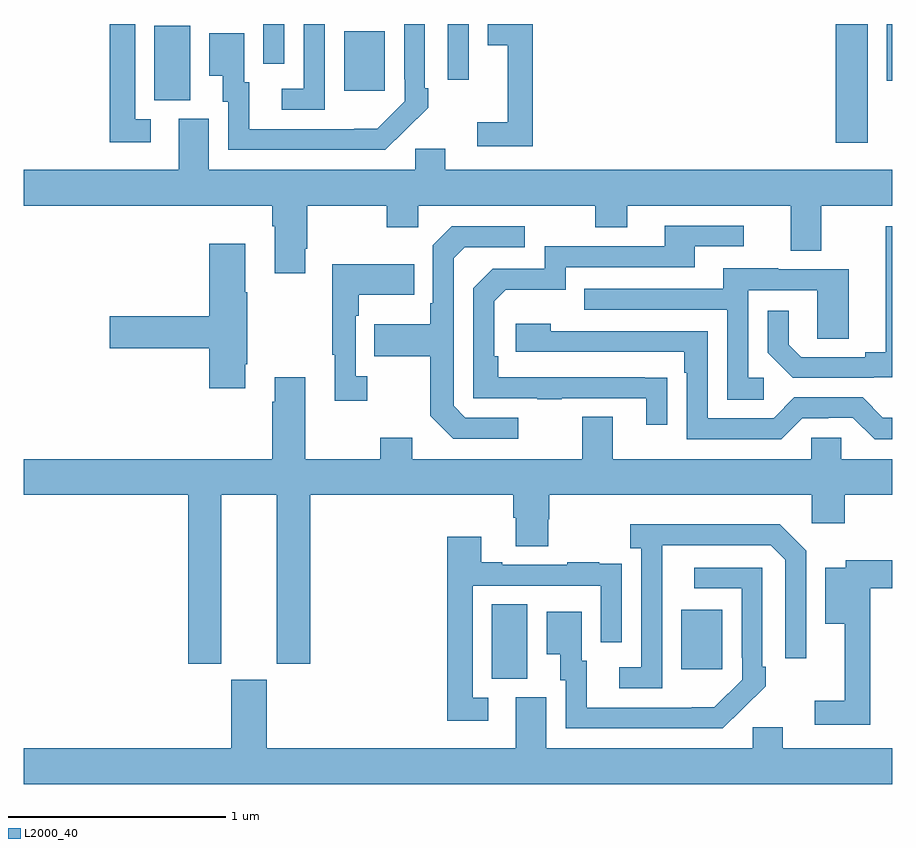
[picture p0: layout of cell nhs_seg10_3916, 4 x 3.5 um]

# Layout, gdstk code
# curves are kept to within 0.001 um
import gdstk
lib = gdstk.Library(unit=1e-6, precision=1e-09)
def R(c, l, rs):  # rectangles x0, y0, x1, y1
    for r in rs: c.add(gdstk.rectangle(r[:2], r[2:], *l))
def P(c, l, *ps):  # polygons
    for p in ps: c.add(gdstk.Polygon(p, *l))
L2000_40 = (2000, 40)

nhs_seg10_3916 = lib.new_cell('nhs_seg10_3916')
R(nhs_seg10_3916, L2000_40, [(329.156,1283.485,329.32,1283.828), (330.029,1283.529,330.217,1283.803), (330.74,1285.953,330.886,1286.5), (327.602,1286.149,327.766,1286.492), (328.475,1286.193,328.663,1286.467), (330.975,1286.238,331,1286.5), (328.953,1286.244,329.049,1286.5), (328.104,1286.316,328.2,1286.5)])
P(nhs_seg10_3916, L2000_40, [(328.757,1286.011),(328.758,1286.01),(328.863,1286.115),(328.863,1286.203),(328.848,1286.203),(328.848,1286.5),(328.752,1286.5),(328.752,1286.245),(328.755,1286.245),(328.755,1286.145),(328.627,1286.017),(328.039,1286.016),(328.039,1286.232),(328.015,1286.232),(328.015,1286.458),(327.854,1286.458),(327.854,1286.261),(327.917,1286.261),(327.917,1286.142),(327.942,1286.142),(327.942,1285.92),(328.666,1285.92)],
  [(328.386,1286.5),(328.29,1286.5),(328.29,1286.202),(328.188,1286.202),(328.188,1286.106),(328.386,1286.106)],
  [(329.345,1286.5),(329.138,1286.5),(329.138,1286.402),(329.228,1286.402),(329.228,1286.047),(329.088,1286.047),(329.088,1285.938),(329.345,1285.938)],
  [(327.586,1286.061),(327.513,1286.061),(327.513,1286.5),(327.397,1286.5),(327.397,1285.956),(327.586,1285.956)],
  [(328.297,1285.465),(328.305,1285.465),(328.305,1285.664),(328.672,1285.664),(328.672,1285.565),(328.818,1285.565),(328.818,1285.664),(329.632,1285.664),(329.632,1285.565),(329.779,1285.565),(329.779,1285.664),(330.533,1285.664),(330.533,1285.456),(330.673,1285.456),(330.673,1285.664),(331,1285.664),(331,1285.828),(328.942,1285.828),(328.942,1285.926),(328.803,1285.926),(328.803,1285.828),(327.853,1285.828),(327.853,1286.064),(327.713,1286.064),(327.713,1285.828),(327,1285.828),(327,1285.664),(328.145,1285.664),(328.145,1285.568),(328.157,1285.568),(328.157,1285.353),(328.297,1285.353)],
  [(329.963,1284.872),(329.186,1284.873),(329.186,1284.97),(329.166,1284.97),(329.166,1285.224),(329.219,1285.277),(329.496,1285.277),(329.496,1285.38),(330.091,1285.38),(330.091,1285.476),(330.316,1285.476),(330.316,1285.572),(329.951,1285.572),(329.951,1285.476),(329.4,1285.476),(329.4,1285.374),(329.16,1285.374),(329.07,1285.284),(329.07,1284.777),(329.365,1284.777),(329.365,1284.772),(329.477,1284.772),(329.477,1284.777),(329.867,1284.777),(329.867,1284.654),(329.963,1284.654)],
  [(329.278,1284.687),(329.034,1284.687),(328.98,1284.741),(328.98,1285.422),(329.031,1285.473),(329.308,1285.473),(329.308,1285.569),(328.971,1285.569),(328.884,1285.482),(328.884,1285.213),(328.872,1285.213),(328.872,1285.117),(328.615,1285.117),(328.615,1284.97),(328.872,1284.97),(328.872,1284.697),(328.977,1284.591),(329.278,1284.591)],
  [(330.914,1284.873),(331,1284.873),(331,1285.569),(330.971,1285.569),(330.971,1284.989),(330.875,1284.989),(330.875,1284.966),(330.58,1284.966),(330.523,1285.023),(330.523,1285.18),(330.426,1285.18),(330.426,1284.986),(330.542,1284.87),(330.914,1284.87)],
  [(328.021,1284.934),(328.029,1284.934),(328.029,1285.265),(328.021,1285.265),(328.021,1285.489),(327.854,1285.489),(327.854,1285.154),(327.396,1285.154),(327.396,1285.007),(327.854,1285.007),(327.854,1284.822),(328.021,1284.822)],
  [(328.582,1284.878),(328.53,1284.878),(328.53,1285.157),(328.543,1285.157),(328.543,1285.253),(328.799,1285.253),(328.799,1285.393),(328.422,1285.393),(328.422,1284.977),(328.433,1284.977),(328.433,1284.765),(328.582,1284.765)],
  [(330.409,1284.87),(330.336,1284.87),(330.336,1285.275),(330.654,1285.275),(330.654,1285.051),(330.799,1285.051),(330.799,1285.371),(330.475,1285.371),(330.475,1285.375),(330.221,1285.375),(330.221,1285.281),(329.581,1285.281),(329.581,1285.185),(330.24,1285.185),(330.24,1284.769),(330.409,1284.769)],
  [(331,1284.687),(330.957,1284.687),(330.864,1284.78),(330.549,1284.78),(330.453,1284.684),(330.15,1284.684),(330.15,1285.086),(329.426,1285.086),(329.426,1285.12),(329.265,1285.12),(329.265,1284.99),(330.041,1284.99),(330.041,1284.893),(330.054,1284.893),(330.054,1284.588),(330.489,1284.588),(330.585,1284.684),(330.704,1284.684),(330.704,1284.687),(330.819,1284.687),(330.919,1284.587),(331,1284.587)],
  [(327.91,1284.332),(328.166,1284.332),(328.166,1283.553),(328.319,1283.553),(328.319,1284.332),(329.255,1284.332),(329.255,1284.226),(329.267,1284.226),(329.267,1284.094),(329.415,1284.094),(329.415,1284.219),(329.42,1284.219),(329.42,1284.332),(330.63,1284.332),(330.63,1284.201),(330.782,1284.201),(330.782,1284.332),(331,1284.332),(331,1284.496),(330.765,1284.496),(330.765,1284.594),(330.627,1284.594),(330.627,1284.496),(329.713,1284.496),(329.713,1284.691),(329.573,1284.691),(329.573,1284.496),(328.789,1284.496),(328.789,1284.595),(328.642,1284.595),(328.642,1284.496),(328.297,1284.496),(328.297,1284.874),(328.157,1284.874),(328.157,1284.761),(328.145,1284.761),(328.145,1284.496),(327,1284.496),(327,1284.332),(327.758,1284.332),(327.758,1283.553),(327.91,1283.553)],
  [(329.94,1283.899),(329.941,1284.099),(330.441,1284.099),(330.507,1284.033),(330.507,1283.58),(330.603,1283.58),(330.603,1284.075),(330.482,1284.196),(329.793,1284.196),(329.793,1284.086),(329.844,1284.086),(329.844,1283.538),(329.742,1283.538),(329.742,1283.442),(329.94,1283.442)],
  [(329.14,1283.397),(329.067,1283.397),(329.067,1283.913),(329.658,1283.913),(329.658,1283.652),(329.754,1283.652),(329.754,1283.906),(329.753,1283.906),(329.753,1284.015),(329.651,1284.015),(329.651,1284.022),(329.503,1284.022),(329.503,1284.009),(329.203,1284.009),(329.203,1284.022),(329.107,1284.022),(329.107,1284.139),(328.951,1284.139),(328.951,1283.292),(329.14,1283.292)],
  [(330.899,1283.902),(331,1283.902),(331,1284.031),(330.786,1284.031),(330.786,1283.995),(330.692,1283.995),(330.692,1283.738),(330.782,1283.738),(330.782,1283.383),(330.642,1283.383),(330.642,1283.274),(330.899,1283.274)],
  [(330.311,1283.347),(330.312,1283.346),(330.417,1283.451),(330.417,1283.539),(330.402,1283.539),(330.402,1283.997),(330.087,1283.997),(330.087,1283.901),(330.306,1283.901),(330.306,1283.581),(330.309,1283.581),(330.309,1283.481),(330.181,1283.353),(329.593,1283.352),(329.593,1283.568),(329.569,1283.568),(329.569,1283.794),(329.408,1283.794),(329.408,1283.597),(329.471,1283.597),(329.471,1283.478),(329.496,1283.478),(329.496,1283.256),(330.22,1283.256)],
  [(331,1283.164),(330.496,1283.164),(330.496,1283.262),(330.357,1283.262),(330.357,1283.164),(329.407,1283.164),(329.407,1283.4),(329.267,1283.4),(329.267,1283.164),(328.12,1283.164),(328.12,1283.481),(327.956,1283.481),(327.956,1283.164),(327,1283.164),(327,1283),(331,1283)])

lib.write_gds('nhs_seg10_3916.gds')
